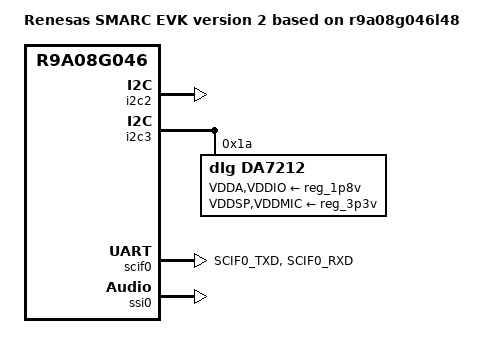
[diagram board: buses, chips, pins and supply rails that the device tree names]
// SPDX-License-Identifier: (GPL-2.0-only OR BSD-2-Clause)
/*
 * Device Tree Source for the RZ/G3L SMARC EVK board
 *
 * Copyright (C) 2026 Renesas Electronics Corp.
 */

/dts-v1/;

/* Switch selection settings */
#define RZ_BOOT_MODE3		1
#define SW_SD2_EN		0
#define SW_DPI_EN		0
#define SW_GPIO4		1
#define SW_I3C_EN		0

#define PMOD_GPIO4		0
#define PMOD_GPIO6		0
#define PMOD_GPIO7		0

#define KEY_1_GPIO		RZG3L_GPIO(J, 3)
#define KEY_2_GPIO		RZG3L_GPIO(6, 4)
#define KEY_3_GPIO		RZG3L_GPIO(6, 5)

#include <dt-bindings/gpio/gpio.h>
#include <dt-bindings/input/input.h>
#include <dt-bindings/pinctrl/renesas,r9a08g046-pinctrl.h>
#include "r9a08g046l48.dtsi"
#include "rzg3l-smarc-som.dtsi"
#include "renesas-smarc2.dtsi"

/ {
	model = "Renesas SMARC EVK version 2 based on r9a08g046l48";
	compatible = "renesas,smarc2-evk", "renesas,rzg3l-smarcm",
		     "renesas,r9a08g046l48", "renesas,r9a08g046";

	aliases {
		i2c2 = &i2c2;
		i2c3 = &i2c3;
		serial3 = &scif0;
	};

#if !SW_SD2_EN && !SW_I3C_EN
	snd_rzg3l: sound {
		compatible = "simple-audio-card";
		simple-audio-card,name = "snd_rzg3l";
		#address-cells = <1>;
		#size-cells = <0>;

		ssi_link_play: simple-audio-card,dai-link@0 {
			reg = <0>;
			format = "i2s";
			bitclock-master = <&cpu_dai>;
			frame-master = <&cpu_dai>;
			mclk-fs = <256>;

			cpu_dai: cpu {
				sound-dai = <&ssi0>;
			};

			codec_dai: codec {
				sound-dai = <&da7212>;
				clocks = <&versa3 1>;
			};
		};
	};
#endif
};

&i2c2 {
	pinctrl-0 = <&i2c2_pins>;
	pinctrl-names = "default";

	status = "okay";
};

#if !SW_I3C_EN
&i2c3 {
	pinctrl-0 = <&i2c3_pins>;
	pinctrl-names = "default";

	status = "okay";

	da7212: codec@1a {
		compatible = "dlg,da7212";
		reg = <0x1a>;

		clocks = <&versa3 1>;
		clock-names = "mclk";

		#sound-dai-cells = <0>;

		dlg,micbias1-lvl = <2500>;
		dlg,micbias2-lvl = <2500>;
		dlg,dmic-data-sel = "lrise_rfall";
		dlg,dmic-samplephase = "between_clkedge";
		dlg,dmic-clkrate = <3000000>;

		VDDA-supply = <&reg_1p8v>;
		VDDSP-supply = <&reg_3p3v>;
		VDDMIC-supply = <&reg_3p3v>;
		VDDIO-supply = <&reg_1p8v>;
	};
};
#endif

&keys {
#if !RZ_BOOT_MODE3 || !SW_GPIO4 || PMOD_GPIO4
	/delete-node/ key-1;
#endif

#if SW_DPI_EN || PMOD_GPIO6
	/delete-node/ key-2;
#endif

#if SW_DPI_EN || PMOD_GPIO7
	/delete-node/ key-3;
#endif
};

&pinctrl {
	audio_clk_pins: audio-clock {
		pinmux = <RZG3L_PORT_PINMUX(H, 4, 6)>, /* AUDIO_CLK_B */
			 <RZG3L_PORT_PINMUX(H, 5, 6)>; /* AUDIO_CLK_C */
	};

	i2c2_pins: i2c2 {
		pinmux = <RZG3L_PORT_PINMUX(A, 4, 4)>, /* RIIC2_SCL */
			 <RZG3L_PORT_PINMUX(A, 5, 4)>; /* RIIC2_SDA */
	};

	i2c3_pins: i2c3 {
		pinmux = <RZG3L_PORT_PINMUX(2, 0, 4)>, /* RIIC3_SCL */
			 <RZG3L_PORT_PINMUX(2, 1, 4)>; /* RIIC3_SDA */
	};

	scif0_pins: scif0 {
		pins = "SCIF0_TXD", "SCIF0_RXD";
		power-source = <1800>;
	};

	ssi0_pins: ssi0 {
		pinmux = <RZG3L_PORT_PINMUX(H, 0, 9)>, /* SSIF0_RXD */
			 <RZG3L_PORT_PINMUX(H, 1, 9)>, /* SSIF0_BCK */
			 <RZG3L_PORT_PINMUX(H, 2, 9)>, /* SSIF0_RCK */
			 <RZG3L_PORT_PINMUX(H, 3, 9)>; /* SSIF0_TXD */
	};
};

&scif0 {
	pinctrl-0 = <&scif0_pins>;
	pinctrl-names = "default";
};

#if !SW_SD2_EN
&ssi0 {
	clocks = <&cpg CPG_MOD R9A08G046_SSI0_PCLK2>,
		 <&cpg CPG_MOD R9A08G046_SSI0_PCLK_SFR>,
		 <&versa3 2>, <&versa3 3>;
	pinctrl-0 = <&audio_clk_pins>, <&ssi0_pins>;
	pinctrl-names = "default";

	status = "okay";
};
#endif
